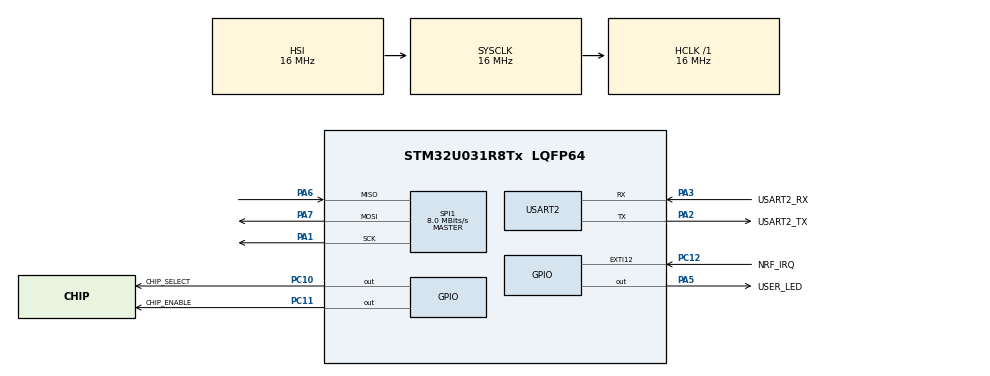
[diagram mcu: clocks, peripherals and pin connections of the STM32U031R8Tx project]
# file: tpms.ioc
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Mcu.Family=STM32U0
Mcu.Name=STM32U031R8Tx
Mcu.Package=LQFP64
NVIC.EXTI4_15_IRQn=true\:0\:0\:false\:false\:true\:true\:true\:true
NVIC.PriorityGroup=NVIC_PRIORITYGROUP_2
PA1.Mode=Full_Duplex_Master
PA1.Signal=SPI1_SCK
PA13\ (SWDIO).GPIO_Label=SWDIO
PA13\ (SWDIO).Mode=Serial_Wire
PA13\ (SWDIO).Signal=DEBUG_JTMS-SWDIO
PA14\ (SWCLK).GPIO_Label=SWCLK
PA14\ (SWCLK).Mode=Serial_Wire
PA14\ (SWCLK).Signal=DEBUG_JTCK-SWCLK
PA2.GPIO_Label=USART2_TX
PA2.Mode=Asynchronous
PA2.Signal=USART2_TX
PA3.GPIO_Label=USART2_RX
PA3.Mode=Asynchronous
PA3.Signal=USART2_RX
PA5.GPIO_Label=USER_LED
PA5.Signal=GPIO_Output
PA6.Mode=Full_Duplex_Master
PA6.Signal=SPI1_MISO
PA7.Mode=Full_Duplex_Master
PA7.Signal=SPI1_MOSI
PB8.GPIO_Label=I2C1_SCL
PB8.Signal=I2C1_SCL
PB9.GPIO_Label=I2C1_SDA
PB9.Signal=I2C1_SDA
PC10.GPIO_Label=CHIP_SELECT
PC10.Signal=GPIO_Output
PC11.GPIO_Label=CHIP_ENABLE
PC11.Signal=GPIO_Output
PC12.GPIO_Label=NRF_IRQ
PC12.GPIO_ModeDefaultEXTI=GPIO_MODE_IT_FALLING
PC12.GPIO_PuPd=GPIO_NOPULL
PC12.Signal=GPXTI12
PC14-OSC32_IN.GPIO_Label=OSC32_IN
PC14-OSC32_IN.Mode=LSE-External-Oscillator
PC14-OSC32_IN.Signal=RCC_OSC32_IN
PC15-OSC32_OUT.GPIO_Label=OSC32_OUT
PC15-OSC32_OUT.Mode=LSE-External-Oscillator
PC15-OSC32_OUT.Signal=RCC_OSC32_OUT
PF0-OSC_IN.GPIO_Label=OSC_IN
PF0-OSC_IN.Signal=RCC_OSC_IN
PF1-OSC_OUT.GPIO_Label=OSC_OUT
PF1-OSC_OUT.Signal=RCC_OSC_OUT
ProjectManager.HeapSize=0x200
ProjectManager.StackSize=0x400
ProjectManager.TargetToolchain=CMake
RCC.AHBFreq_Value=16000000
RCC.CortexFreq_Value=16000000
RCC.HCLKFreq_Value=16000000
RCC.HSE_VALUE=4000000
RCC.HSI48_VALUE=48000000
RCC.HSI_VALUE=16000000
RCC.MSI_VALUE=4000000
RCC.SYSCLKFreq_VALUE=16000000
RCC.VCOOutputFreq_Value=64000000
SPI1.BaudRatePrescaler=SPI_BAUDRATEPRESCALER_2
SPI1.CalculateBaudRate=8.0 MBits/s
SPI1.DataSize=SPI_DATASIZE_8BIT
SPI1.Direction=SPI_DIRECTION_2LINES
SPI1.Mode=SPI_MODE_MASTER
SPI1.VirtualType=VM_MASTER
USART2.VirtualMode-Asynchronous=VM_ASYNC
VP_PWR_VS_SECSignals.Mode=Security/Privilege
board=NUCLEO-U031R8

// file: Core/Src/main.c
/* USER CODE BEGIN Header */
/**
 ******************************************************************************
 * @file           : main.c
 * @brief          : Main program body
 ******************************************************************************
 * @attention
 *
 * Copyright (c) 2024 STMicroelectronics.
 * All rights reserved.
 *
 * This software is licensed under terms that can be found in the LICENSE file
 * in the root directory of this software component.
 * If no LICENSE file comes with this software, it is provided AS-IS.
 *
 ******************************************************************************
 */
/* USER CODE END Header */
#include "main.h"
#include "spi.h"
#include "usart.h"
#include "gpio.h"

/* USER CODE BEGIN Includes */

#include <stdio.h>
#include <string.h>
#include "nrf2401.h"

/* USER CODE END Includes */

/* USER CODE BEGIN PV */

static TxPayload txpayload = {0};

/* USER CODE END PV */

void SystemClock_Config(void);

/* USER CODE BEGIN 0 */

uint8_t test_msg[128] = {0};
uint8_t rxbuffer[RX_BUF_SZ_BYTES] = {0};

/* USER CODE END 0 */

int main(void)
{

  /* MCU Configuration--------------------------------------------------------*/

  /* Reset of all peripherals, Initializes the Flash interface and the Systick. */
  HAL_Init();

  /* Configure the system clock */
  SystemClock_Config();

  /* Initialize all configured peripherals */
  MX_GPIO_Init();
  MX_SPI1_Init();
  MX_USART2_UART_Init();
  /* USER CODE BEGIN 2 */

  sprintf((char*)test_msg, "Starting initialization...\r\n");
  HAL_UART_Transmit(&huart2, test_msg, sizeof(test_msg), UART_TIMEOUT_MS);

  // transmit a test command to bring CLK low (not sure why the clock is high to begin with)
  txpayload.command = R_REGISTER(CONFIG_REGISTER);
  tx_cmd(&txpayload, 1);

  HAL_Delay(1000);

  // keep in device RX mode constantly
  HAL_GPIO_WritePin(CHIP_ENABLE_GPIO_Port, CHIP_ENABLE_Pin, GPIO_PIN_SET);

  // configure NRF to be a receiver and mask away the other interrupts
  txpayload.command = W_REGISTER(CONFIG_REGISTER);
  txpayload.data[0] = 0b00111111;
  tx_cmd(&txpayload, 2);

  // configure rx data pipe 0 with a payload size of 2
  txpayload.command = W_REGISTER(RX_PW_P0);
  txpayload.data[0] = PAYLOAD_SZ_BYTES;
  tx_cmd(&txpayload, 2);

  // flush the rx buffer on the NRF2401
  txpayload.command = FLUSH_RX;
  tx_cmd(&txpayload, 1);

  // set the RF configuration
  NrfRfSetup_t rf_config = {.data_power = ZERO_DBM, .data_rate = TWO_MBPS};
  nrf24l01_setup_rf(&rf_config);

  sprintf((char*)test_msg, "Flushed RX FIFO!\r\n");
  HAL_UART_Transmit(&huart2, test_msg, sizeof(test_msg), UART_TIMEOUT_MS);

  // read configuration back

  txpayload.command = R_REGISTER(CONFIG_REGISTER);
  tx_rx_cmd(&txpayload, 1, rxbuffer, 1);
  uint8_t config = rxbuffer[0];
  memset(&rxbuffer, 0, sizeof(rxbuffer));

  txpayload.command = R_REGISTER(EN_RXADDR);
  tx_rx_cmd(&txpayload, 1, rxbuffer, 1);
  uint8_t endp = rxbuffer[0];
  memset(&rxbuffer, 0, sizeof(rxbuffer));

  txpayload.command = R_REGISTER(RF_CH);
  tx_rx_cmd(&txpayload, 1, rxbuffer, 1);
  uint8_t rfch = rxbuffer[0];
  memset(&rxbuffer, 0, sizeof(rxbuffer));

  txpayload.command = R_REGISTER(RF_SETUP);
  tx_rx_cmd(&txpayload, 1, rxbuffer, 1);
  uint8_t rfsetup = rxbuffer[0];
  memset(&rxbuffer, 0, sizeof(rxbuffer));

  txpayload.command = R_REGISTER(RX_ADDR_P0);
  tx_rx_cmd(&txpayload, 1, rxbuffer, 5);
  uint32_t rx_addr_p0_hi = *((uint32_t*)rxbuffer);
  uint32_t rx_addr_p0_lo = *((uint32_t*)rxbuffer + 1);
  memset(&rxbuffer, 0, sizeof(rxbuffer));

  txpayload.command = R_REGISTER(TX_ADDR);
  tx_rx_cmd(&txpayload, 1, rxbuffer, 5);
  uint32_t tx_addr_hi = *((uint32_t*)rxbuffer);
  uint32_t tx_addr_lo = *((uint32_t*)rxbuffer + 1);
  memset(&rxbuffer, 0, sizeof(rxbuffer));

  txpayload.command = R_REGISTER(RX_PW_P0);
  tx_rx_cmd(&txpayload, 1, rxbuffer, 5);
  uint8_t rx_pw_p0 = rxbuffer[0];
  memset(&rxbuffer, 0, sizeof(rxbuffer));

  sprintf((char*)test_msg, "CONFIG: 0x%x\r\n", config);
  HAL_UART_Transmit(&huart2, test_msg, strlen(test_msg), UART_TIMEOUT_MS);

  sprintf((char*)test_msg, "ENABLED DATA PIPES: 0x%x\r\n", endp);
  HAL_UART_Transmit(&huart2, test_msg, strlen(test_msg), UART_TIMEOUT_MS);

  sprintf((char*)test_msg, "RF CHANNEL: 0x%x\r\n", rfch);
  HAL_UART_Transmit(&huart2, test_msg, strlen(test_msg), UART_TIMEOUT_MS);

  sprintf((char*)test_msg, "RF SETUP: 0x%x\r\n", rfsetup);
  HAL_UART_Transmit(&huart2, test_msg, strlen(test_msg), UART_TIMEOUT_MS);

  sprintf((char*)test_msg, "RX_ADDR_P0: 0x%x%x\r\n", rx_addr_p0_hi, rx_addr_p0_lo);
  HAL_UART_Transmit(&huart2, test_msg, strlen(test_msg), UART_TIMEOUT_MS);

  sprintf((char*)test_msg, "TX_ADDR: 0x%x%x\r\n", tx_addr_hi, tx_addr_lo);
  HAL_UART_Transmit(&huart2, test_msg, strlen(test_msg), UART_TIMEOUT_MS);

  sprintf((char*)test_msg, "RX_PW_P0: 0x%x\r\n", rx_pw_p0);
  HAL_UART_Transmit(&huart2, test_msg, strlen(test_msg), UART_TIMEOUT_MS);

  /* USER CODE END 2 */

  /* Infinite loop */
  while (1) {

  }
}

void SystemClock_Config(void)
{
  RCC_OscInitTypeDef RCC_OscInitStruct = {0};
  RCC_ClkInitTypeDef RCC_ClkInitStruct = {0};

  /** Configure the main internal regulator output voltage
  */
  HAL_PWREx_ControlVoltageScaling(PWR_REGULATOR_VOLTAGE_SCALE2);

  /** Initializes the RCC Oscillators according to the specified parameters
  * in the RCC_OscInitTypeDef structure.
  */
  RCC_OscInitStruct.OscillatorType = RCC_OSCILLATORTYPE_HSI;
  RCC_OscInitStruct.HSIState = RCC_HSI_ON;
  RCC_OscInitStruct.HSICalibrationValue = RCC_HSICALIBRATION_DEFAULT;
  RCC_OscInitStruct.PLL.PLLState = RCC_PLL_NONE;
  if (HAL_RCC_OscConfig(&RCC_OscInitStruct) != HAL_OK)
  {
    Error_Handler();
  }

  /** Initializes the CPU, AHB and APB buses clocks
  */
  RCC_ClkInitStruct.ClockType = RCC_CLOCKTYPE_HCLK|RCC_CLOCKTYPE_SYSCLK
                              |RCC_CLOCKTYPE_PCLK1;
  RCC_ClkInitStruct.SYSCLKSource = RCC_SYSCLKSOURCE_HSI;
  RCC_ClkInitStruct.AHBCLKDivider = RCC_SYSCLK_DIV1;
  RCC_ClkInitStruct.APB1CLKDivider = RCC_HCLK_DIV1;

  if (HAL_RCC_ClockConfig(&RCC_ClkInitStruct, FLASH_LATENCY_1) != HAL_OK)
  {
    Error_Handler();
  }
}

void Error_Handler(void)
{
  __disable_irq();
  while (1) {
  }
}

#ifdef  USE_FULL_ASSERT
/**
  * @brief  Reports the name of the source file and the source line number
  *         where the assert_param error has occurred.
  * @param  file: pointer to the source file name
  * @param  line: assert_param error line source number
  * @retval None
  */
void assert_failed(uint8_t *file, uint32_t line)
{
  /* USER CODE BEGIN 6 */
  /* User can add his own implementation to report the file name and line
  number,
  /* USER CODE END 6 */
}
#endif /* USE_FULL_ASSERT */
